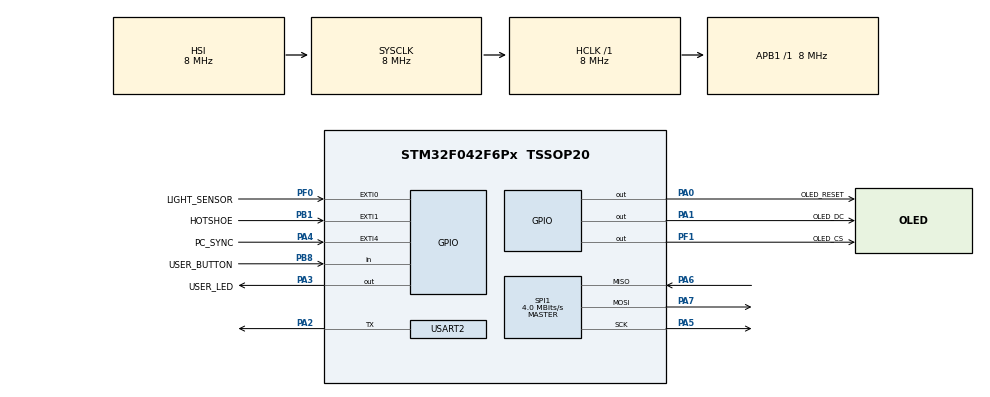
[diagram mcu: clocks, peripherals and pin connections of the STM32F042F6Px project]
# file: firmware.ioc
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Mcu.Family=STM32F0
Mcu.Name=STM32F042F6Px
Mcu.Package=TSSOP20
NVIC.EXTI0_1_IRQn=true\:0\:0\:false\:false\:true\:true\:true\:true
NVIC.EXTI4_15_IRQn=true\:0\:0\:false\:false\:true\:true\:true\:true
PA0.GPIO_Label=OLED_RESET
PA0.PinState=GPIO_PIN_SET
PA0.Signal=GPIO_Output
PA1.GPIO_Label=OLED_DC
PA1.PinState=GPIO_PIN_SET
PA1.Signal=GPIO_Output
PA13.Mode=Serial_Wire
PA13.Signal=SYS_SWDIO
PA14.Mode=Serial_Wire
PA14.Signal=SYS_SWCLK
PA2.Mode=Half_duplex(single_wire_mode)
PA2.Signal=USART2_TX
PA3.GPIO_Label=USER_LED
PA3.Signal=GPIO_Output
PA4.GPIO_Label=PC_SYNC
PA4.GPIO_ModeDefaultEXTI=GPIO_MODE_IT_RISING_FALLING
PA4.Signal=GPXTI4
PA5.Mode=Full_Duplex_Master
PA5.Signal=SPI1_SCK
PA6.Mode=Full_Duplex_Master
PA6.Signal=SPI1_MISO
PA7.Mode=Full_Duplex_Master
PA7.Signal=SPI1_MOSI
PB1.GPIO_Label=HOTSHOE
PB1.GPIO_ModeDefaultEXTI=GPIO_MODE_IT_RISING_FALLING
PB1.Signal=GPXTI1
PB8.GPIO_Label=USER_BUTTON
PB8.Signal=GPIO_Input
PF0-OSC_IN.GPIO_Label=LIGHT_SENSOR
PF0-OSC_IN.GPIO_ModeDefaultEXTI=GPIO_MODE_IT_RISING_FALLING
PF0-OSC_IN.GPIO_PuPd=GPIO_PULLDOWN
PF0-OSC_IN.Signal=GPXTI0
PF1-OSC_OUT.GPIO_Label=OLED_CS
PF1-OSC_OUT.PinState=GPIO_PIN_SET
PF1-OSC_OUT.Signal=GPIO_Output
ProjectManager.HeapSize=0x200
ProjectManager.StackSize=0x400
ProjectManager.TargetToolchain=MDK-ARM V5.32
RCC.AHBFreq_Value=8000000
RCC.APB1Freq_Value=8000000
RCC.APB1TimFreq_Value=8000000
RCC.HCLKFreq_Value=8000000
RCC.SYSCLKFreq_VALUE=8000000
SPI1.BaudRatePrescaler=SPI_BAUDRATEPRESCALER_2
SPI1.CalculateBaudRate=4.0 MBits/s
SPI1.DataSize=SPI_DATASIZE_8BIT
SPI1.Direction=SPI_DIRECTION_2LINES
SPI1.Mode=SPI_MODE_MASTER
SPI1.VirtualType=VM_MASTER
TIM2.Prescaler=7
USART2.BaudRate=115200
USART2.Mode=MODE_TX
USART2.VirtualMode-Half_duplex(single_wire_mode)=VM_ASYNC
VP_SYS_VS_PINREMAP.Mode=PINREMAP
VP_TIM2_VS_ClockSourceINT.Mode=Internal
board=custom

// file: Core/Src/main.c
/* USER CODE BEGIN Header */
/**
  ******************************************************************************
  * @file           : main.c
  * @brief          : Main program body
  ******************************************************************************
  * @attention
  *
  * Copyright (c) 2023 STMicroelectronics.
  * All rights reserved.
  *
  * This software is licensed under terms that can be found in the LICENSE file
  * in the root directory of this software component.
  * If no LICENSE file comes with this software, it is provided AS-IS.
  *
  ******************************************************************************
  */
/* USER CODE END Header */
#include "main.h"

/* USER CODE BEGIN Includes */
#include <stdio.h>
#include "ssd1306.h"
#include <string.h>
/* USER CODE END Includes */

/* USER CODE BEGIN PTD */
int stdin_getchar (void)
{
  return 0;
}

int stdout_putchar (int ch) {
  return 0;
}
void ttywrch (int ch) {
  return;
}
/* USER CODE END PTD */

/* USER CODE BEGIN PD */

/*
2023 11 27 0.2.0
removed OLED dimming
no display fraction when > 600ms when single source
blank out result screen during a new measurement

2023 11 30 0.2.1
skipped blanking out at first measurement

2025 07 20
0.2.2
added 115us of light sensor compensation
*/

uint8_t fw_version_major = 0;
uint8_t fw_version_minor = 2;
uint8_t fw_version_patch = 2;

#define SHUTTER_STATE_IDLE 0
#define SHUTTER_STATE_TRIGGERED 1
#define SHUTTER_STATE_BOUNCE_DETECT 2
#define SHUTTER_STATE_TIMEOUT 3
#define SHUTTER_STATE_RESULT_AVAILABLE 4

#define PIN_STATE_NO_CHANGE 0
#define PIN_STATE_ACTIVATE 1
#define PIN_STATE_RELEASE 2

typedef struct
{
  uint32_t current_state;
  uint32_t trigger_ts;
  uint32_t release_ts;
  uint32_t duration;
  uint32_t bounce_count;
} shutter_state_machine;

void reset_ssm(shutter_state_machine* ssm)
{
  ssm->current_state = SHUTTER_STATE_IDLE;
  ssm->trigger_ts = 0;
  ssm->release_ts = 0;
  ssm->duration = 0;
  ssm->bounce_count = 0;
}

/* USER CODE END PD */

/* USER CODE BEGIN PM */

#define micros() (htim2.Instance->CNT)

/* USER CODE END PM */

SPI_HandleTypeDef hspi1;

TIM_HandleTypeDef htim2;

UART_HandleTypeDef huart2;

/* USER CODE BEGIN PV */

int fputc(int ch, FILE *f)
{
    HAL_UART_Transmit(&huart2, (unsigned char *)&ch, 1, 100);
    return ch;
}

#define SSM_SOURCE_SIZE 3

#define SSM_SOURCE_HOTSHOE 0
#define SSM_SOURCE_PC 1
#define SSM_SOURCE_LIGHT_SENSOR 2

shutter_state_machine all_ssms[SSM_SOURCE_SIZE];

/* USER CODE END PV */

void SystemClock_Config(void);
static void MX_GPIO_Init(void);
static void MX_SPI1_Init(void);
static void MX_USART2_UART_Init(void);
static void MX_TIM2_Init(void);
/* USER CODE BEGIN PFP */

#define SHUTTER_TIMEOUT_SEC 10
#define SHUTTER_BOUNCE_TIMEOUT_MS 250

uint8_t ssm_update(shutter_state_machine* ssm, uint16_t pin_state)
{
  if(ssm->current_state == SHUTTER_STATE_IDLE && pin_state == PIN_STATE_ACTIVATE)
  {
    ssm->current_state = SHUTTER_STATE_TRIGGERED;
    ssm->trigger_ts = micros();
  }
  else if(ssm->current_state == SHUTTER_STATE_TRIGGERED && pin_state == PIN_STATE_RELEASE)
  {
    ssm->current_state = SHUTTER_STATE_BOUNCE_DETECT;
    ssm->release_ts = micros();
  }
  else if(ssm->current_state == SHUTTER_STATE_BOUNCE_DETECT && pin_state == PIN_STATE_ACTIVATE)
  {
    ssm->current_state = SHUTTER_STATE_TRIGGERED;
    ssm->bounce_count++;
  }
  else if(ssm->current_state == SHUTTER_STATE_TRIGGERED && pin_state == PIN_STATE_NO_CHANGE && micros() - ssm->trigger_ts > SHUTTER_TIMEOUT_SEC * 1000 * 1000)
  {
    ssm->current_state = SHUTTER_STATE_TIMEOUT;
  }
  else if(ssm->current_state == SHUTTER_STATE_BOUNCE_DETECT && pin_state == PIN_STATE_NO_CHANGE && micros() - ssm->release_ts > SHUTTER_BOUNCE_TIMEOUT_MS*1000)
  {
    ssm->duration = ssm->release_ts - ssm->trigger_ts;
    ssm->current_state = SHUTTER_STATE_RESULT_AVAILABLE;
  }
  return ssm->current_state;
}

uint8_t pinstate_translate(uint16_t idr_value)
{
  if(idr_value == 0)
  {
    USER_LED_GPIO_Port -> BSRR = USER_LED_Pin;
    return PIN_STATE_ACTIVATE;
  }
  else
  {
    USER_LED_GPIO_Port -> BRR = USER_LED_Pin;
    return PIN_STATE_RELEASE;
  }
}

/* USER CODE END PFP */

/* USER CODE BEGIN 0 */

void HAL_GPIO_EXTI_Callback(uint16_t GPIO_Pin)
{
  if(GPIO_Pin == HOTSHOE_Pin)
    ssm_update(&all_ssms[SSM_SOURCE_HOTSHOE], pinstate_translate(HOTSHOE_GPIO_Port->IDR & HOTSHOE_Pin));
  if(GPIO_Pin == PC_SYNC_Pin)
    ssm_update(&all_ssms[SSM_SOURCE_PC], pinstate_translate(PC_SYNC_GPIO_Port->IDR & PC_SYNC_Pin));
  if(GPIO_Pin == LIGHT_SENSOR_Pin)
    ssm_update(&all_ssms[SSM_SOURCE_LIGHT_SENSOR], pinstate_translate(!(LIGHT_SENSOR_GPIO_Port->IDR & LIGHT_SENSOR_Pin)));
}

#define TEMP_BUF_SIZE 32
char temp_str_buf1[TEMP_BUF_SIZE];
char temp_str_buf2[TEMP_BUF_SIZE];

void format_usec(char* buf, uint32_t time_micros)
{
  if (time_micros >= 10000000) // More than 10 seconds
    sprintf(buf, "%.1fs", time_micros / 1000000.0);
  else if (time_micros >= 1000000) // More than 1 second
    sprintf(buf, "%.2fs", time_micros / 1000000.0);
  else if (time_micros >= 10000) // More than 10 milliseconds
    sprintf(buf, "%ums", time_micros / 1000);
  else if (time_micros >= 1000) // Between 1 and 10 milliseconds
    sprintf(buf, "%.1fms", time_micros / 1000.0);
  else // Less than 1 millisecond
    sprintf(buf, "%uus", time_micros);
}

float usec_to_fraction(uint32_t usec)
{
  if(usec == 0)
    return 0;
  return 1000000.0 / usec;
}

void format_fraction(char* buf, uint32_t time_micros)
{
  float fraction = 0;
  if(time_micros != 0)
    fraction = 1000000.0 / time_micros;

  if(time_micros < 100)
    sprintf(buf, "---");
  else if (fraction >= 10)
    sprintf(buf, "1/%.0f", fraction);
  else
    sprintf(buf, "1/%.1f", fraction);
}

uint8_t center_line(uint8_t line_len, uint8_t char_width_pixels, uint8_t oled_width_pixels)
{
  int16_t start_pixel = (oled_width_pixels - line_len * char_width_pixels) / 2;
  if(start_pixel < 0)
    start_pixel = 0;
  return start_pixel;
}

char* oled_str_hotshoe = "Hot Shoe";
char* oled_str_pc_socket = "PC Socket";
char* oled_str_light_sensor = "Light Sensor";

void print_single_result(char* title, shutter_state_machine* ssm)
{
  if(ssm->duration < 500)
    return;

  ssd1306_Fill(Black);
  ssd1306_SetCursor(center_line(strlen(title), 7, SSD1306_WIDTH), 0);
  ssd1306_WriteString(title, Font_7x10, White);

  format_usec(temp_str_buf1, ssm->duration);
  format_fraction(temp_str_buf2, ssm->duration);

  if(ssm->duration > 600*1000)
    memset(temp_str_buf2, 0, TEMP_BUF_SIZE);
  else
    strcat(temp_str_buf2, " ");

  uint8_t line_start = center_line(strlen(temp_str_buf1)+strlen(temp_str_buf2), 11, SSD1306_WIDTH);
  ssd1306_SetCursor(line_start, 11);

  ssd1306_WriteString(temp_str_buf2, Font_11x18, White);
  ssd1306_WriteString(temp_str_buf1, Font_11x18, White);

  ssd1306_UpdateScreen();
}

void print_double_result(char* title1, shutter_state_machine* ssm1, char* title2, shutter_state_machine* ssm2)
{
  ssd1306_Fill(Black);

  ssd1306_Line(63,0,63,32,White);

  ssd1306_SetCursor(center_line(strlen(title1), 7, SSD1306_WIDTH/2), 0);
  ssd1306_WriteString(title1, Font_7x10, White);

  ssd1306_SetCursor(center_line(strlen(title2), 7, SSD1306_WIDTH/2) + 64, 0);
  ssd1306_WriteString(title2, Font_7x10, White);

  format_usec(temp_str_buf1, ssm1->duration);
  format_fraction(temp_str_buf2, ssm1->duration);

  ssd1306_SetCursor(center_line(strlen(temp_str_buf1), 7, SSD1306_WIDTH/2), 11);
  ssd1306_WriteString(temp_str_buf1, Font_7x10, White);

  ssd1306_SetCursor(center_line(strlen(temp_str_buf2), 7, SSD1306_WIDTH/2), 22);
  ssd1306_WriteString(temp_str_buf2, Font_7x10, White);

  format_usec(temp_str_buf1, ssm2->duration);
  format_fraction(temp_str_buf2, ssm2->duration);

  ssd1306_SetCursor(center_line(strlen(temp_str_buf1), 7, SSD1306_WIDTH/2) + 64, 11);
  ssd1306_WriteString(temp_str_buf1, Font_7x10, White);

  ssd1306_SetCursor(center_line(strlen(temp_str_buf2), 7, SSD1306_WIDTH/2) + 64, 22);
  ssd1306_WriteString(temp_str_buf2, Font_7x10, White);

  ssd1306_UpdateScreen();
}

void print_triple_result(void)
{
  ssd1306_Fill(Black);

  ssd1306_SetCursor(center_line(strlen("HS"), 7, SSD1306_WIDTH/3), 0);
  ssd1306_WriteString("HS", Font_7x10, White);

  ssd1306_SetCursor(center_line(strlen("PC"), 7, SSD1306_WIDTH/3) + 42, 0);
  ssd1306_WriteString("PC", Font_7x10, White);

  ssd1306_SetCursor(center_line(strlen("LS"), 7, SSD1306_WIDTH/3) + 84, 0);
  ssd1306_WriteString("LS", Font_7x10, White);

  //-------------HOT SHOE-----------------
  format_usec(temp_str_buf1, all_ssms[SSM_SOURCE_HOTSHOE].duration);
  format_fraction(temp_str_buf2, all_ssms[SSM_SOURCE_HOTSHOE].duration);

  ssd1306_SetCursor(center_line(strlen(temp_str_buf1), 7, SSD1306_WIDTH/3), 11);
  ssd1306_WriteString(temp_str_buf1, Font_7x10, White);

  ssd1306_SetCursor(center_line(strlen(temp_str_buf2), 7, SSD1306_WIDTH/3), 22);
  ssd1306_WriteString(temp_str_buf2, Font_7x10, White);

  //-------------PC SOCKET-----------------
  format_usec(temp_str_buf1, all_ssms[SSM_SOURCE_PC].duration);
  format_fraction(temp_str_buf2, all_ssms[SSM_SOURCE_PC].duration);

  ssd1306_SetCursor(center_line(strlen(temp_str_buf1), 7, SSD1306_WIDTH/3) + 42, 11);
  ssd1306_WriteString(temp_str_buf1, Font_7x10, White);

  ssd1306_SetCursor(center_line(strlen(temp_str_buf2), 7, SSD1306_WIDTH/3) + 42 , 22);
  ssd1306_WriteString(temp_str_buf2, Font_7x10, White);

  //-------------LIGHT SENSOR-----------------
  format_usec(temp_str_buf1, all_ssms[SSM_SOURCE_LIGHT_SENSOR].duration);
  format_fraction(temp_str_buf2, all_ssms[SSM_SOURCE_LIGHT_SENSOR].duration);

  ssd1306_SetCursor(center_line(strlen(temp_str_buf1), 7, SSD1306_WIDTH/3) + 84, 11);
  ssd1306_WriteString(temp_str_buf1, Font_7x10, White);

  ssd1306_SetCursor(center_line(strlen(temp_str_buf2), 7, SSD1306_WIDTH/3) + 84 , 22);
  ssd1306_WriteString(temp_str_buf2, Font_7x10, White);

  ssd1306_Line(42,0,42,32,White);
  ssd1306_Line(85,0,85,32,White);

  ssd1306_UpdateScreen();
}

char* oled_str_ready = "READY";

void print_ready(void)
{
  ssd1306_Fill(Black);
  ssd1306_SetCursor(center_line(strlen(oled_str_ready), 11, SSD1306_WIDTH), 0);
  ssd1306_WriteString(oled_str_ready, Font_11x18, White);

  memset(temp_str_buf1, 0, TEMP_BUF_SIZE);
  sprintf(temp_str_buf1, "PulseHPT.com %d.%d.%d", fw_version_major, fw_version_minor, fw_version_patch);
  ssd1306_SetCursor(0, 20);
  ssd1306_WriteString(temp_str_buf1, Font_7x10, White);
  ssd1306_UpdateScreen();
}

void delay_us(uint32_t delay)
{
  uint32_t end_time = micros() + delay;
  while(micros() < end_time);
}

uint8_t count_state(uint8_t state)
{
  uint8_t bitfield = 0;
  for (uint8_t i = 0; i < SSM_SOURCE_SIZE; i++)
    if(all_ssms[i].current_state == state)
      bitfield |= 1 << i;
  return bitfield;
}

void ssm_reset_all(void)
{
  reset_ssm(&all_ssms[SSM_SOURCE_HOTSHOE]);
  reset_ssm(&all_ssms[SSM_SOURCE_PC]);
  reset_ssm(&all_ssms[SSM_SOURCE_LIGHT_SENSOR]);
}

void ssm_update_all(void)
{
  ssm_update(&all_ssms[SSM_SOURCE_HOTSHOE], PIN_STATE_NO_CHANGE);
  ssm_update(&all_ssms[SSM_SOURCE_PC], PIN_STATE_NO_CHANGE);
  ssm_update(&all_ssms[SSM_SOURCE_LIGHT_SENSOR], PIN_STATE_NO_CHANGE);
}

#define LIGHT_SENSOR_COMPENSATION_US 115

void print_results_all_sources(void)
{
  uint8_t active_sources = count_state(SHUTTER_STATE_RESULT_AVAILABLE);
  /*
  4  3  2  1
  X  LS PC HS
  */

  all_ssms[SSM_SOURCE_LIGHT_SENSOR].duration -= LIGHT_SENSOR_COMPENSATION_US;

  if(active_sources == 1) // 0001 hot shoe only
    print_single_result(oled_str_hotshoe, &all_ssms[SSM_SOURCE_HOTSHOE]);

  else if(active_sources == 2) // 0010 pc only
    print_single_result(oled_str_pc_socket, &all_ssms[SSM_SOURCE_PC]);

  else if(active_sources == 4) // 0100 light sensor only
    print_single_result(oled_str_light_sensor, &all_ssms[SSM_SOURCE_LIGHT_SENSOR]);

  else if(active_sources == 3) // 0011 hot shoe AND pc
    print_double_result("HotShoe", &all_ssms[SSM_SOURCE_HOTSHOE], "PC", &all_ssms[SSM_SOURCE_PC]);

  else if(active_sources == 5) // 0101 hot shoe AND light sensor
    print_double_result("HotShoe", &all_ssms[SSM_SOURCE_HOTSHOE], "L Sensor", &all_ssms[SSM_SOURCE_LIGHT_SENSOR]);

  else if(active_sources == 6) // 0110 pc AND light sensor
    print_double_result("PC", &all_ssms[SSM_SOURCE_PC], "L Sensor", &all_ssms[SSM_SOURCE_LIGHT_SENSOR]);

  else if(active_sources == 7) // 0111 all of them
    print_triple_result();
}

void print_timeout(void)
{
  ssd1306_Fill(Black);
  memset(temp_str_buf1, 0, TEMP_BUF_SIZE);
  sprintf(temp_str_buf1, " >%ds", SHUTTER_TIMEOUT_SEC);
  ssd1306_SetCursor(0, 7);
  ssd1306_WriteString("TIMEOUT", Font_11x18, White);
  ssd1306_SetCursor(80, 11);
  ssd1306_WriteString(temp_str_buf1, Font_7x10, White);
  ssd1306_UpdateScreen();
}

/* USER CODE END 0 */

int main(void)
{

  /* MCU Configuration--------------------------------------------------------*/

  /* Reset of all peripherals, Initializes the Flash interface and the Systick. */
  HAL_Init();

  /* Configure the system clock */
  SystemClock_Config();

  /* Initialize all configured peripherals */
  MX_GPIO_Init();
  MX_SPI1_Init();
  MX_USART2_UART_Init();
  MX_TIM2_Init();
  /* USER CODE BEGIN 2 */
  ssd1306_Init();
  HAL_TIM_Base_Start(&htim2);
  ssm_reset_all();
  ssd1306_SetContrast(128); // 0 least bright, 255 full brightness

  /* USER CODE END 2 */

  /* Infinite loop */
  /* USER CODE BEGIN WHILE */
  printf("PulseHPT dekuNukem 2023 %d.%d.%d\n", fw_version_major, fw_version_minor, fw_version_patch);
  print_ready();
  uint8_t is_first_measurement = 1;
  while (1)
  {
    /* USER CODE END WHILE */

    /* USER CODE BEGIN 3 */
    HAL_Delay(10);
    ssm_update_all();

    if(count_state(SHUTTER_STATE_TIMEOUT))
    {
      __disable_irq();
      print_timeout();
      delay_us(250*1000);
      ssm_reset_all();
      __enable_irq();
      continue;
    }

    if(count_state(SHUTTER_STATE_RESULT_AVAILABLE) == 0)
      continue;

    if(!is_first_measurement)
    {
      ssd1306_FillRectangle(0,11,127,31,Black);
      ssd1306_UpdateScreen();
    }

    // at least one source has result
    // wait a bit more and see if other sources has results too
    uint32_t entry_time = micros();
    while(micros() - entry_time < 250*1000)
    {
      HAL_Delay(10);
      ssm_update_all();
    }

    __disable_irq();
    print_results_all_sources();
    delay_us(100*1000);
    ssm_reset_all();
    __enable_irq();
    is_first_measurement = 0;
  }
  /* USER CODE END 3 */
}

void SystemClock_Config(void)
{
  RCC_OscInitTypeDef RCC_OscInitStruct = {0};
  RCC_ClkInitTypeDef RCC_ClkInitStruct = {0};

  /** Initializes the RCC Oscillators according to the specified parameters
  * in the RCC_OscInitTypeDef structure.
  */
  RCC_OscInitStruct.OscillatorType = RCC_OSCILLATORTYPE_HSI;
  RCC_OscInitStruct.HSIState = RCC_HSI_ON;
  RCC_OscInitStruct.HSICalibrationValue = RCC_HSICALIBRATION_DEFAULT;
  RCC_OscInitStruct.PLL.PLLState = RCC_PLL_NONE;
  if (HAL_RCC_OscConfig(&RCC_OscInitStruct) != HAL_OK)
  {
    Error_Handler();
  }

  /** Initializes the CPU, AHB and APB buses clocks
  */
  RCC_ClkInitStruct.ClockType = RCC_CLOCKTYPE_HCLK|RCC_CLOCKTYPE_SYSCLK
                              |RCC_CLOCKTYPE_PCLK1;
  RCC_ClkInitStruct.SYSCLKSource = RCC_SYSCLKSOURCE_HSI;
  RCC_ClkInitStruct.AHBCLKDivider = RCC_SYSCLK_DIV1;
  RCC_ClkInitStruct.APB1CLKDivider = RCC_HCLK_DIV1;

  if (HAL_RCC_ClockConfig(&RCC_ClkInitStruct, FLASH_LATENCY_0) != HAL_OK)
  {
    Error_Handler();
  }
}

static void MX_SPI1_Init(void)
{

  /* SPI1 parameter configuration*/
  hspi1.Instance = SPI1;
  hspi1.Init.Mode = SPI_MODE_MASTER;
  hspi1.Init.Direction = SPI_DIRECTION_2LINES;
  hspi1.Init.DataSize = SPI_DATASIZE_8BIT;
  hspi1.Init.CLKPolarity = SPI_POLARITY_LOW;
  hspi1.Init.CLKPhase = SPI_PHASE_1EDGE;
  hspi1.Init.NSS = SPI_NSS_SOFT;
  hspi1.Init.BaudRatePrescaler = SPI_BAUDRATEPRESCALER_2;
  hspi1.Init.FirstBit = SPI_FIRSTBIT_MSB;
  hspi1.Init.TIMode = SPI_TIMODE_DISABLE;
  hspi1.Init.CRCCalculation = SPI_CRCCALCULATION_DISABLE;
  hspi1.Init.CRCPolynomial = 7;
  hspi1.Init.CRCLength = SPI_CRC_LENGTH_DATASIZE;
  hspi1.Init.NSSPMode = SPI_NSS_PULSE_ENABLE;
  if (HAL_SPI_Init(&hspi1) != HAL_OK)
  {
    Error_Handler();
  }

}

static void MX_TIM2_Init(void)
{

  TIM_ClockConfigTypeDef sClockSourceConfig = {0};
  TIM_MasterConfigTypeDef sMasterConfig = {0};

  htim2.Instance = TIM2;
  htim2.Init.Prescaler = 7;
  htim2.Init.CounterMode = TIM_COUNTERMODE_UP;
  htim2.Init.Period = 4294967295;
  htim2.Init.ClockDivision = TIM_CLOCKDIVISION_DIV1;
  htim2.Init.AutoReloadPreload = TIM_AUTORELOAD_PRELOAD_DISABLE;
  if (HAL_TIM_Base_Init(&htim2) != HAL_OK)
  {
    Error_Handler();
  }
  sClockSourceConfig.ClockSource = TIM_CLOCKSOURCE_INTERNAL;
  if (HAL_TIM_ConfigClockSource(&htim2, &sClockSourceConfig) != HAL_OK)
  {
    Error_Handler();
  }
  sMasterConfig.MasterOutputTrigger = TIM_TRGO_RESET;
  sMasterConfig.MasterSlaveMode = TIM_MASTERSLAVEMODE_DISABLE;
  if (HAL_TIMEx_MasterConfigSynchronization(&htim2, &sMasterConfig) != HAL_OK)
  {
    Error_Handler();
  }

}

static void MX_USART2_UART_Init(void)
{

  huart2.Instance = USART2;
  huart2.Init.BaudRate = 115200;
  huart2.Init.WordLength = UART_WORDLENGTH_8B;
  huart2.Init.StopBits = UART_STOPBITS_1;
  huart2.Init.Parity = UART_PARITY_NONE;
  huart2.Init.Mode = UART_MODE_TX;
  huart2.Init.HwFlowCtl = UART_HWCONTROL_NONE;
  huart2.Init.OverSampling = UART_OVERSAMPLING_16;
  huart2.Init.OneBitSampling = UART_ONE_BIT_SAMPLE_DISABLE;
  huart2.AdvancedInit.AdvFeatureInit = UART_ADVFEATURE_NO_INIT;
  if (HAL_HalfDuplex_Init(&huart2) != HAL_OK)
  {
    Error_Handler();
  }

}

static void MX_GPIO_Init(void)
{
  GPIO_InitTypeDef GPIO_InitStruct = {0};

  /* GPIO Ports Clock Enable */
  __HAL_RCC_GPIOB_CLK_ENABLE();
  __HAL_RCC_GPIOF_CLK_ENABLE();
  __HAL_RCC_GPIOA_CLK_ENABLE();

  /*Configure GPIO pin Output Level */
  HAL_GPIO_WritePin(OLED_CS_GPIO_Port, OLED_CS_Pin, GPIO_PIN_SET);

  /*Configure GPIO pin Output Level */
  HAL_GPIO_WritePin(GPIOA, OLED_RESET_Pin|OLED_DC_Pin, GPIO_PIN_SET);

  /*Configure GPIO pin Output Level */
  HAL_GPIO_WritePin(USER_LED_GPIO_Port, USER_LED_Pin, GPIO_PIN_RESET);

  /*Configure GPIO pin : USER_BUTTON_Pin */
  GPIO_InitStruct.Pin = USER_BUTTON_Pin;
  GPIO_InitStruct.Mode = GPIO_MODE_INPUT;
  GPIO_InitStruct.Pull = GPIO_NOPULL;
  HAL_GPIO_Init(USER_BUTTON_GPIO_Port, &GPIO_InitStruct);

  /*Configure GPIO pin : LIGHT_SENSOR_Pin */
  GPIO_InitStruct.Pin = LIGHT_SENSOR_Pin;
  GPIO_InitStruct.Mode = GPIO_MODE_IT_RISING_FALLING;
  GPIO_InitStruct.Pull = GPIO_PULLDOWN;
  HAL_GPIO_Init(LIGHT_SENSOR_GPIO_Port, &GPIO_InitStruct);

  /*Configure GPIO pin : OLED_CS_Pin */
  GPIO_InitStruct.Pin = OLED_CS_Pin;
  GPIO_InitStruct.Mode = GPIO_MODE_OUTPUT_PP;
  GPIO_InitStruct.Pull = GPIO_NOPULL;
  GPIO_InitStruct.Speed = GPIO_SPEED_FREQ_LOW;
  HAL_GPIO_Init(OLED_CS_GPIO_Port, &GPIO_InitStruct);

  /*Configure GPIO pins : OLED_RESET_Pin OLED_DC_Pin USER_LED_Pin */
  GPIO_InitStruct.Pin = OLED_RESET_Pin|OLED_DC_Pin|USER_LED_Pin;
  GPIO_InitStruct.Mode = GPIO_MODE_OUTPUT_PP;
  GPIO_InitStruct.Pull = GPIO_NOPULL;
  GPIO_InitStruct.Speed = GPIO_SPEED_FREQ_LOW;
  HAL_GPIO_Init(GPIOA, &GPIO_InitStruct);

  /*Configure GPIO pin : PC_SYNC_Pin */
  GPIO_InitStruct.Pin = PC_SYNC_Pin;
  GPIO_InitStruct.Mode = GPIO_MODE_IT_RISING_FALLING;
  GPIO_InitStruct.Pull = GPIO_NOPULL;
  HAL_GPIO_Init(PC_SYNC_GPIO_Port, &GPIO_InitStruct);

  /*Configure GPIO pin : HOTSHOE_Pin */
  GPIO_InitStruct.Pin = HOTSHOE_Pin;
  GPIO_InitStruct.Mode = GPIO_MODE_IT_RISING_FALLING;
  GPIO_InitStruct.Pull = GPIO_NOPULL;
  HAL_GPIO_Init(HOTSHOE_GPIO_Port, &GPIO_InitStruct);

  /* EXTI interrupt init*/
  HAL_NVIC_SetPriority(EXTI0_1_IRQn, 0, 0);
  HAL_NVIC_EnableIRQ(EXTI0_1_IRQn);

  HAL_NVIC_SetPriority(EXTI4_15_IRQn, 0, 0);
  HAL_NVIC_EnableIRQ(EXTI4_15_IRQn);

}

void Error_Handler(void)
{
  __disable_irq();
  while (1)
  {
  }
}
